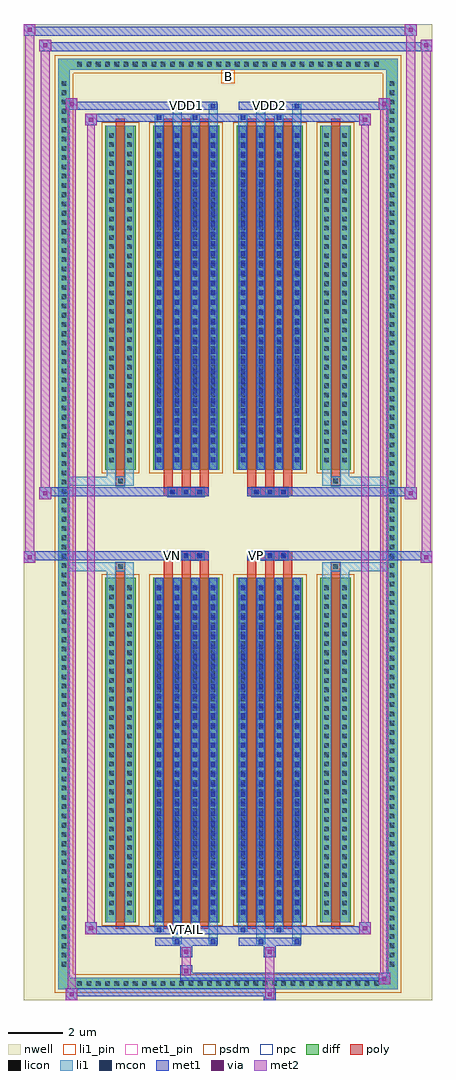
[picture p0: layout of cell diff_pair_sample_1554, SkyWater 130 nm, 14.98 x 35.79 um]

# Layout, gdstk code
import gdstk
lib = gdstk.Library(unit=1e-6, precision=5e-09)
def R(c, l, rs):  # rectangles x0, y0, x1, y1
    for r in rs: c.add(gdstk.rectangle(r[:2], r[2:], *l))
def A(c, l, x, y, w, h, nx, ny, dx, dy):  # array of equal rectangles
    R(c, l, [(x+i*dx, y+j*dy, x+i*dx+w, y+j*dy+h) for i in range(nx) for j in range(ny)])
def P(c, l, *ps):  # polygons
    for p in ps: c.add(gdstk.Polygon(p, *l))
nwell = (64, 20)
diff = (65, 20)
poly = (66, 20)
licon = (66, 44)
li1_pin = (67, 16)
li1 = (67, 20)
mcon = (67, 44)
met1_pin = (68, 16)
met1 = (68, 20)
via = (68, 44)
met2 = (69, 20)
psdm = (94, 20)
npc = (95, 20)

diff_pair_sample_1554 = lib.new_cell('diff_pair_sample_1554')
R(diff_pair_sample_1554, nwell, [(-7.49,-17.46,7.49,18.33), (-4.81,-15.65,-0.01,-0.805), (0.01,-15.65,4.81,-0.805), (-4.81,0.805,-0.01,15.65), (0.01,0.805,4.81,15.65)])
A(diff_pair_sample_1554, diff, -5.645, -17.06, 0.41, 0.41, 33, 2, 0.34, 33.71)
A(diff_pair_sample_1554, diff, -6.22, -16.355, 0.41, 0.41, 1, 96, 0, 0.34)
A(diff_pair_sample_1554, diff, 5.81, -16.355, 0.41, 0.41, 1, 96, 0, 0.34)
R(diff_pair_sample_1554, diff, [(-5.645,-17.06,5.645,-16.65), (-6.22,-16.355,-5.81,16.355), (5.81,-16.355,6.22,16.355), (-4.5,-14.605,-3.39,-1.985), (-2.75,-14.605,-0.32,-1.985), (0.32,-14.605,2.75,-1.985), (3.39,-14.605,4.5,-1.985), (-4.5,1.985,-3.39,14.605), (-2.75,1.985,-0.32,14.605), (0.32,1.985,2.75,14.605), (3.39,1.985,4.5,14.605), (-5.645,16.65,5.645,17.06)])
P(diff_pair_sample_1554, diff, [(6.22,17.06),(-6.22,17.06),(-6.22,-16.65),(-5.81,-16.65),(-5.81,16.65),(5.81,16.65),(5.81,-16.65),(-5.81,-16.65),(-6.22,-16.65),(-6.22,-17.06),(6.22,-17.06)])
A(diff_pair_sample_1554, poly, -2.36, -14.855, 0.33, 13.12, 3, 2, 0.66, 16.59)
A(diff_pair_sample_1554, poly, 0.71, -14.855, 0.33, 13.12, 3, 2, 0.66, 16.59)
A(diff_pair_sample_1554, poly, -2.36, -1.735, 0.33, 0.4, 3, 2, 0.66, 3.07)
A(diff_pair_sample_1554, poly, 0.71, -1.735, 0.33, 0.4, 3, 2, 0.66, 3.07)
A(diff_pair_sample_1554, poly, -2.2, -1.335, 0.33, 0.33, 3, 2, 0.5, 2.34)
A(diff_pair_sample_1554, poly, 0.87, -1.335, 0.33, 0.33, 3, 2, 0.5, 2.34)
R(diff_pair_sample_1554, poly, [(-4.11,-14.855,-3.78,-1.735), (3.78,-14.855,4.11,-1.735), (-4.11,-1.735,-3.78,-1.405), (-4.11,-1.735,-3.78,-1.405), (3.78,-1.735,4.11,-1.405), (3.78,-1.735,4.11,-1.405), (-2.36,-1.335,-0.71,-1.005), (0.71,-1.335,2.36,-1.005), (-2.36,1.005,-0.71,1.335), (0.71,1.005,2.36,1.335), (-4.11,1.405,-3.78,1.735), (-4.11,1.405,-3.78,1.735), (3.78,1.405,4.11,1.735), (3.78,1.405,4.11,1.735), (-4.11,1.735,-3.78,14.855), (3.78,1.735,4.11,14.855)])
A(diff_pair_sample_1554, licon, -5.525, -16.94, 0.17, 0.17, 33, 2, 0.34, 33.71)
A(diff_pair_sample_1554, licon, -6.1, -16.235, 0.17, 0.17, 1, 96, 0, 0.34)
A(diff_pair_sample_1554, licon, 5.93, -16.235, 0.17, 0.17, 1, 96, 0, 0.34)
A(diff_pair_sample_1554, licon, -4.36, -14.33, 0.17, 0.17, 1, 36, 0, 0.34)
A(diff_pair_sample_1554, licon, -3.7, -14.33, 0.17, 0.17, 1, 36, 0, 0.34)
A(diff_pair_sample_1554, licon, -2.61, -14.33, 0.17, 0.17, 4, 36, 0.66, 0.34)
A(diff_pair_sample_1554, licon, 0.46, -14.33, 0.17, 0.17, 4, 36, 0.66, 0.34)
A(diff_pair_sample_1554, licon, 3.53, -14.33, 0.17, 0.17, 1, 36, 0, 0.34)
A(diff_pair_sample_1554, licon, 4.19, -14.33, 0.17, 0.17, 1, 36, 0, 0.34)
A(diff_pair_sample_1554, licon, -2.12, -1.255, 0.17, 0.17, 3, 2, 0.5, 2.34)
A(diff_pair_sample_1554, licon, 0.95, -1.255, 0.17, 0.17, 3, 2, 0.5, 2.34)
A(diff_pair_sample_1554, licon, -4.36, 2.26, 0.17, 0.17, 1, 36, 0, 0.34)
A(diff_pair_sample_1554, licon, -3.7, 2.26, 0.17, 0.17, 1, 36, 0, 0.34)
A(diff_pair_sample_1554, licon, -2.61, 2.26, 0.17, 0.17, 4, 36, 0.66, 0.34)
A(diff_pair_sample_1554, licon, 0.46, 2.26, 0.17, 0.17, 4, 36, 0.66, 0.34)
A(diff_pair_sample_1554, licon, 3.53, 2.26, 0.17, 0.17, 1, 36, 0, 0.34)
A(diff_pair_sample_1554, licon, 4.19, 2.26, 0.17, 0.17, 1, 36, 0, 0.34)
R(diff_pair_sample_1554, licon, [(-4.03,-1.655,-3.86,-1.485), (3.86,-1.655,4.03,-1.485), (-4.03,1.485,-3.86,1.655), (3.86,1.485,4.03,1.655)])
R(diff_pair_sample_1554, li1_pin, [(-0.25,16.15,0.25,16.65)])
A(diff_pair_sample_1554, li1, -5.605, -17.02, 0.33, 0.33, 33, 2, 0.34, 33.71)
A(diff_pair_sample_1554, li1, -6.18, -16.315, 0.33, 0.33, 1, 96, 0, 0.34)
A(diff_pair_sample_1554, li1, 5.85, -16.315, 0.33, 0.33, 1, 96, 0, 0.34)
A(diff_pair_sample_1554, li1, -2.69, -14.605, 0.33, 12.62, 4, 2, 0.66, 16.59)
A(diff_pair_sample_1554, li1, 0.38, -14.605, 0.33, 12.62, 4, 2, 0.66, 16.59)
A(diff_pair_sample_1554, li1, -4.44, -14.41, 0.33, 0.33, 1, 36, 0, 0.34)
A(diff_pair_sample_1554, li1, -3.78, -14.41, 0.33, 0.33, 1, 36, 0, 0.34)
A(diff_pair_sample_1554, li1, -2.69, -14.41, 0.33, 0.33, 4, 36, 0.66, 0.34)
A(diff_pair_sample_1554, li1, 0.38, -14.41, 0.33, 0.33, 4, 36, 0.66, 0.34)
A(diff_pair_sample_1554, li1, 3.45, -14.41, 0.33, 0.33, 1, 36, 0, 0.34)
A(diff_pair_sample_1554, li1, 4.11, -14.41, 0.33, 0.33, 1, 36, 0, 0.34)
A(diff_pair_sample_1554, li1, -2.61, -14.32, 0.17, 0.17, 4, 34, 0.66, 0.36)
A(diff_pair_sample_1554, li1, -2.61, -14.32, 0.17, 12.05, 4, 2, 0.66, 16.59)
A(diff_pair_sample_1554, li1, 0.46, -14.32, 0.17, 0.17, 4, 34, 0.66, 0.36)
A(diff_pair_sample_1554, li1, 0.46, -14.32, 0.17, 12.05, 4, 2, 0.66, 16.59)
A(diff_pair_sample_1554, li1, -4.44, -1.735, 0.33, 0.33, 3, 2, 0.33, 3.14)
A(diff_pair_sample_1554, li1, 3.45, -1.735, 0.33, 0.33, 3, 2, 0.33, 3.14)
A(diff_pair_sample_1554, li1, -2.2, -1.335, 0.33, 0.33, 3, 2, 0.5, 2.34)
A(diff_pair_sample_1554, li1, 0.87, -1.335, 0.33, 0.33, 3, 2, 0.5, 2.34)
A(diff_pair_sample_1554, li1, -4.44, 2.18, 0.33, 0.33, 1, 36, 0, 0.34)
A(diff_pair_sample_1554, li1, -3.78, 2.18, 0.33, 0.33, 1, 36, 0, 0.34)
A(diff_pair_sample_1554, li1, -2.69, 2.18, 0.33, 0.33, 4, 36, 0.66, 0.34)
A(diff_pair_sample_1554, li1, 0.38, 2.18, 0.33, 0.33, 4, 36, 0.66, 0.34)
A(diff_pair_sample_1554, li1, 3.45, 2.18, 0.33, 0.33, 1, 36, 0, 0.34)
A(diff_pair_sample_1554, li1, 4.11, 2.18, 0.33, 0.33, 1, 36, 0, 0.34)
A(diff_pair_sample_1554, li1, -2.61, 2.27, 0.17, 0.17, 4, 34, 0.66, 0.36)
A(diff_pair_sample_1554, li1, 0.46, 2.27, 0.17, 0.17, 4, 34, 0.66, 0.36)
R(diff_pair_sample_1554, li1, [(-6.22,-17.06,-5.81,-16.65), (-6.22,-17.06,-5.81,-16.65), (-5.81,-17.06,5.81,-16.65), (5.81,-17.06,6.22,-16.65), (5.81,-17.06,6.22,-16.65), (-6.22,-16.65,-5.81,16.65), (5.81,-16.65,6.22,16.65), (-2.03,-15.41,-1.7,-14.605), (-1.95,-15.41,-1.78,-15.24), (-0.71,-15.41,-0.38,-14.605), (-0.63,-15.41,-0.46,-15.24), (1.04,-15.41,1.37,-14.605), (1.12,-15.41,1.29,-15.24), (2.36,-15.41,2.69,-14.605), (2.44,-15.41,2.61,-15.24), (-2.69,-14.98,-2.36,-14.605), (-2.61,-14.98,-2.44,-14.81), (-1.37,-14.98,-1.04,-14.605), (-1.29,-14.98,-1.12,-14.81), (0.38,-14.98,0.71,-14.605), (0.46,-14.98,0.63,-14.81), (1.7,-14.98,2.03,-14.605), (1.78,-14.98,1.95,-14.81), (-4.44,-14.605,-4.11,-1.985), (-3.78,-14.605,-3.45,-1.985), (3.45,-14.605,3.78,-1.985), (4.11,-14.605,4.44,-1.985), (-4.44,-1.985,-4.11,-1.405), (-3.78,-1.985,-3.45,-1.405), (3.45,-1.985,3.78,-1.405), (4.11,-1.985,4.44,-1.405), (-6.22,-1.735,-4.11,-1.405), (3.78,-1.735,6.22,-1.405), (-6.22,1.405,-4.11,1.735), (-4.44,1.405,-4.11,1.985), (-3.78,1.405,-3.45,1.985), (3.45,1.405,3.78,1.985), (3.78,1.405,6.22,1.735), (4.11,1.405,4.44,1.985), (-4.44,1.985,-4.11,14.605), (-3.78,1.985,-3.45,14.605), (3.45,1.985,3.78,14.605), (4.11,1.985,4.44,14.605), (-2.69,14.605,-2.36,14.98), (-2.03,14.605,-1.7,15.41), (-1.37,14.605,-1.04,14.98), (-0.71,14.605,-0.38,15.41), (0.38,14.605,0.71,14.98), (1.04,14.605,1.37,15.41), (1.7,14.605,2.03,14.98), (2.36,14.605,2.69,15.41), (-2.61,14.81,-2.44,14.98), (-1.29,14.81,-1.12,14.98), (0.46,14.81,0.63,14.98), (1.78,14.81,1.95,14.98), (-1.95,15.24,-1.78,15.41), (-0.63,15.24,-0.46,15.41), (1.12,15.24,1.29,15.41), (2.44,15.24,2.61,15.41), (-6.22,16.65,-5.81,17.06), (-6.22,16.65,-5.81,17.06), (-5.81,16.65,5.81,17.06), (5.81,16.65,6.22,17.06), (5.81,16.65,6.22,17.06)])
A(diff_pair_sample_1554, mcon, -2.61, -14.32, 0.17, 0.17, 4, 34, 0.66, 0.36)
A(diff_pair_sample_1554, mcon, 0.46, -14.32, 0.17, 0.17, 4, 34, 0.66, 0.36)
A(diff_pair_sample_1554, mcon, -2.12, -1.255, 0.17, 0.17, 3, 2, 0.5, 2.34)
A(diff_pair_sample_1554, mcon, 0.95, -1.255, 0.17, 0.17, 3, 2, 0.5, 2.34)
A(diff_pair_sample_1554, mcon, -2.61, 2.27, 0.17, 0.17, 4, 34, 0.66, 0.36)
A(diff_pair_sample_1554, mcon, 0.46, 2.27, 0.17, 0.17, 4, 34, 0.66, 0.36)
R(diff_pair_sample_1554, mcon, [(-1.95,-15.41,-1.78,-15.24), (-0.63,-15.41,-0.46,-15.24), (1.12,-15.41,1.29,-15.24), (2.44,-15.41,2.61,-15.24), (-2.61,-14.98,-2.44,-14.81), (-1.29,-14.98,-1.12,-14.81), (0.46,-14.98,0.63,-14.81), (1.78,-14.98,1.95,-14.81), (-2.61,14.81,-2.44,14.98), (-1.29,14.81,-1.12,14.98), (0.46,14.81,0.63,14.98), (1.78,14.81,1.95,14.98), (-1.95,15.24,-1.78,15.41), (-0.63,15.24,-0.46,15.41), (1.12,15.24,1.29,15.41), (2.44,15.24,2.61,15.41)])
R(diff_pair_sample_1554, met1_pin, [(-1.67,-15.02,-1.4,-14.75), (-2.17,-1.295,-1.9,-1.025), (0.9,-1.295,1.17,-1.025), (-1.67,15.2,-1.4,15.47), (1.4,15.2,1.67,15.47)])
A(diff_pair_sample_1554, met1, -2.67, -14.605, 0.29, 12.62, 4, 2, 0.66, 16.59)
A(diff_pair_sample_1554, met1, 0.4, -14.605, 0.29, 12.62, 4, 2, 0.66, 16.59)
A(diff_pair_sample_1554, met1, -2.67, -14.38, 0.29, 0.29, 4, 34, 0.66, 0.36)
A(diff_pair_sample_1554, met1, 0.4, -14.38, 0.29, 0.29, 4, 34, 0.66, 0.36)
A(diff_pair_sample_1554, met1, -2.18, -1.315, 0.29, 0.29, 3, 2, 0.5, 2.34)
A(diff_pair_sample_1554, met1, 0.89, -1.315, 0.29, 0.29, 3, 2, 0.5, 2.34)
A(diff_pair_sample_1554, met1, -2.67, 2.21, 0.29, 0.29, 4, 34, 0.66, 0.36)
A(diff_pair_sample_1554, met1, 0.4, 2.21, 0.29, 0.29, 4, 34, 0.66, 0.36)
R(diff_pair_sample_1554, met1, [(-5.95,-17.46,-5.52,-17.03), (1.32,-17.46,1.75,-17.03), (-5.95,-17.32,1.75,-17.03), (5.52,-16.89,5.95,-16.46), (-1.75,-16.75,5.95,-16.46), (-1.75,-16.61,-1.32,-16.18), (-1.75,-15.9,-1.32,-15.47), (1.32,-15.9,1.75,-15.47), (-2.67,-15.47,-0.4,-15.18), (-2.01,-15.47,-1.72,-15.18), (-0.69,-15.47,-0.4,-15.18), (0.4,-15.47,2.67,-15.18), (1.06,-15.47,1.35,-15.18), (2.38,-15.47,2.67,-15.18), (-5.24,-15.04,-4.81,-14.61), (-5.24,-15.04,-2.67,-14.75), (-2.67,-15.04,-2.38,-14.75), (-2.67,-15.04,-0.4,-14.75), (-1.35,-15.04,-1.06,-14.75), (-0.4,-15.04,0.4,-14.75), (0.4,-15.04,0.69,-14.75), (0.4,-15.04,2.67,-14.75), (1.72,-15.04,2.01,-14.75), (2.67,-15.04,5.24,-14.75), (4.81,-15.04,5.24,-14.61), (-7.49,-1.435,-7.06,-1.005), (7.06,-1.435,7.49,-1.005), (-7.49,-1.335,-0.71,-1.005), (-2.36,-1.335,-0.71,-1.005), (0.71,-1.335,2.36,-1.005), (0.71,-1.335,7.49,-1.005), (-6.92,0.905,-6.49,1.335), (6.49,0.905,6.92,1.335), (-6.92,1.005,-2.36,1.335), (-2.36,1.005,-0.71,1.335), (0.71,1.005,2.36,1.335), (2.36,1.005,6.92,1.335), (-5.24,14.61,-4.81,15.04), (4.81,14.61,5.24,15.04), (-5.24,14.75,-2.67,15.04), (-2.67,14.75,-2.38,15.04), (-2.67,14.75,-0.4,15.04), (-1.35,14.75,-1.06,15.04), (-0.4,14.75,0.4,15.04), (0.4,14.75,0.69,15.04), (0.4,14.75,2.67,15.04), (1.72,14.75,2.01,15.04), (2.67,14.75,5.24,15.04), (-5.95,15.18,-5.52,15.61), (-5.95,15.18,-2.67,15.47), (-2.67,15.18,-0.4,15.47), (-2.01,15.18,-1.72,15.47), (-0.69,15.18,-0.4,15.47), (0.4,15.18,2.67,15.47), (1.06,15.18,1.35,15.47), (2.38,15.18,2.67,15.47), (2.67,15.18,5.95,15.47), (5.52,15.18,5.95,15.61), (-6.92,17.33,-6.49,17.76), (-6.92,17.33,-4.81,17.66), (-4.81,17.33,4.81,17.66), (4.81,17.33,7.49,17.66), (7.06,17.33,7.49,17.76), (-7.49,17.9,-7.06,18.33), (-7.49,17.9,-4.81,18.23), (-4.81,17.9,4.81,18.23), (4.81,17.9,6.92,18.23), (6.49,17.9,6.92,18.33)])
R(diff_pair_sample_1554, via, [(-5.81,-17.32,-5.66,-17.17), (1.46,-17.32,1.61,-17.17), (5.66,-16.75,5.81,-16.6), (-1.61,-16.47,-1.46,-16.32), (-1.61,-15.76,-1.46,-15.61), (1.46,-15.76,1.61,-15.61), (-5.1,-14.9,-4.95,-14.75), (4.95,-14.9,5.1,-14.75), (-7.35,-1.295,-7.2,-1.145), (7.2,-1.295,7.35,-1.145), (-6.78,1.045,-6.63,1.195), (6.63,1.045,6.78,1.195), (-5.1,14.75,-4.95,14.9), (4.95,14.75,5.1,14.9), (-5.81,15.32,-5.66,15.47), (5.66,15.32,5.81,15.47), (-6.78,17.47,-6.63,17.62), (7.2,17.47,7.35,17.62), (-7.35,18.04,-7.2,18.19), (6.63,18.04,6.78,18.19)])
R(diff_pair_sample_1554, met2, [(-5.95,-17.46,-5.52,-17.03), (-5.88,-17.46,-5.59,15.61), (-5.59,-17.46,-5.52,-17.03), (-5.9,-17.41,-5.57,-17.08), (1.37,-17.41,1.7,-17.08), (1.37,-17.08,1.7,-15.85), (5.52,-16.89,5.95,-16.46), (5.59,-16.89,5.88,15.61), (5.88,-16.89,5.95,-16.46), (5.57,-16.84,5.9,-16.51), (-1.7,-16.56,-1.37,-16.23), (-1.7,-16.23,-1.37,-15.85), (-1.7,-15.85,-1.37,-15.52), (1.37,-15.85,1.7,-15.52), (-5.24,-15.04,-4.81,-14.61), (-5.17,-15.04,-4.88,15.04), (-4.88,-15.04,-4.81,-14.61), (4.81,-15.04,5.24,-14.61), (4.88,-15.04,5.17,15.04), (5.17,-15.04,5.24,-14.61), (-5.19,-14.99,-4.86,-14.66), (4.86,-14.99,5.19,-14.66), (-7.49,-1.435,-7.06,-1.005), (-7.44,-1.435,-7.11,18.33), (-7.11,-1.435,-7.06,-1.005), (7.06,-1.435,7.49,-1.005), (7.11,-1.435,7.44,17.76), (7.44,-1.435,7.49,-1.005), (-7.44,-1.385,-7.11,-1.055), (7.11,-1.385,7.44,-1.055), (-6.92,0.905,-6.49,1.335), (-6.87,0.905,-6.54,17.76), (-6.54,0.905,-6.49,1.335), (6.49,0.905,6.92,1.335), (6.54,0.905,6.87,18.33), (6.87,0.905,6.92,1.335), (-6.87,0.955,-6.54,1.285), (6.54,0.955,6.87,1.285), (-5.24,14.61,-4.81,15.04), (-4.88,14.61,-4.81,15.04), (4.81,14.61,5.24,15.04), (5.17,14.61,5.24,15.04), (-5.19,14.66,-4.86,14.99), (4.86,14.66,5.19,14.99), (-5.95,15.18,-5.52,15.61), (-5.59,15.18,-5.52,15.61), (5.52,15.18,5.95,15.61), (5.88,15.18,5.95,15.61), (-5.9,15.23,-5.57,15.56), (5.57,15.23,5.9,15.56), (-6.92,17.33,-6.49,17.76), (-6.54,17.33,-6.49,17.76), (7.06,17.33,7.49,17.76), (7.44,17.33,7.49,17.76), (-6.87,17.38,-6.54,17.71), (7.11,17.38,7.44,17.71), (-7.49,17.9,-7.06,18.33), (-7.11,17.9,-7.06,18.33), (6.49,17.9,6.92,18.33), (6.87,17.9,6.92,18.33), (-7.44,17.95,-7.11,18.28), (6.54,17.95,6.87,18.28)])
R(diff_pair_sample_1554, psdm, [(-4.63,-14.735,-3.26,-1.855), (-2.88,-14.735,-0.19,-1.855), (0.19,-14.735,2.88,-1.855), (3.26,-14.735,4.63,-1.855), (-4.63,1.855,-3.26,14.735), (-2.88,1.855,-0.19,14.735), (0.19,1.855,2.88,14.735), (3.26,1.855,4.63,14.735)])
P(diff_pair_sample_1554, psdm, [(6.35,17.19),(-6.35,17.19),(-6.35,-16.52),(-5.68,-16.52),(-5.68,16.52),(5.68,16.52),(5.68,-16.52),(-5.68,-16.52),(-6.35,-16.52),(-6.35,-17.19),(6.35,-17.19)])
A(diff_pair_sample_1554, npc, -2.22, -1.355, 0.37, 0.37, 3, 2, 0.5, 2.34)
A(diff_pair_sample_1554, npc, 0.85, -1.355, 0.37, 0.37, 3, 2, 0.5, 2.34)
R(diff_pair_sample_1554, npc, [(-4.13,-1.755,-3.76,-1.385), (3.76,-1.755,4.13,-1.385), (-2.22,-1.355,-1.35,-0.985), (-2.22,-1.355,-1.35,-0.985), (-1.72,-1.355,-0.85,-0.985), (-1.72,-1.355,-0.85,-0.985), (0.85,-1.355,1.72,-0.985), (0.85,-1.355,1.72,-0.985), (1.35,-1.355,2.22,-0.985), (1.35,-1.355,2.22,-0.985), (-2.22,0.985,-1.35,1.355), (-2.22,0.985,-1.35,1.355), (-1.72,0.985,-0.85,1.355), (-1.72,0.985,-0.85,1.355), (0.85,0.985,1.72,1.355), (0.85,0.985,1.72,1.355), (1.35,0.985,2.22,1.355), (1.35,0.985,2.22,1.355), (-4.13,1.385,-3.76,1.755), (3.76,1.385,4.13,1.755)])
diff_pair_sample_1554.add(gdstk.Label('VTAIL', (-1.535,-14.885), layer=68, texttype=5))
diff_pair_sample_1554.add(gdstk.Label('VN', (-2.035,-1.16), layer=68, texttype=5))
diff_pair_sample_1554.add(gdstk.Label('VP', (1.035,-1.16), layer=68, texttype=5))
diff_pair_sample_1554.add(gdstk.Label('B', (0,16.4), layer=67, texttype=5))
diff_pair_sample_1554.add(gdstk.Label('VDD2', (1.535,15.335), layer=68, texttype=5))
diff_pair_sample_1554.add(gdstk.Label('VDD1', (-1.535,15.335), layer=68, texttype=5))

lib.write_gds('diff_pair_sample_1554.gds')
